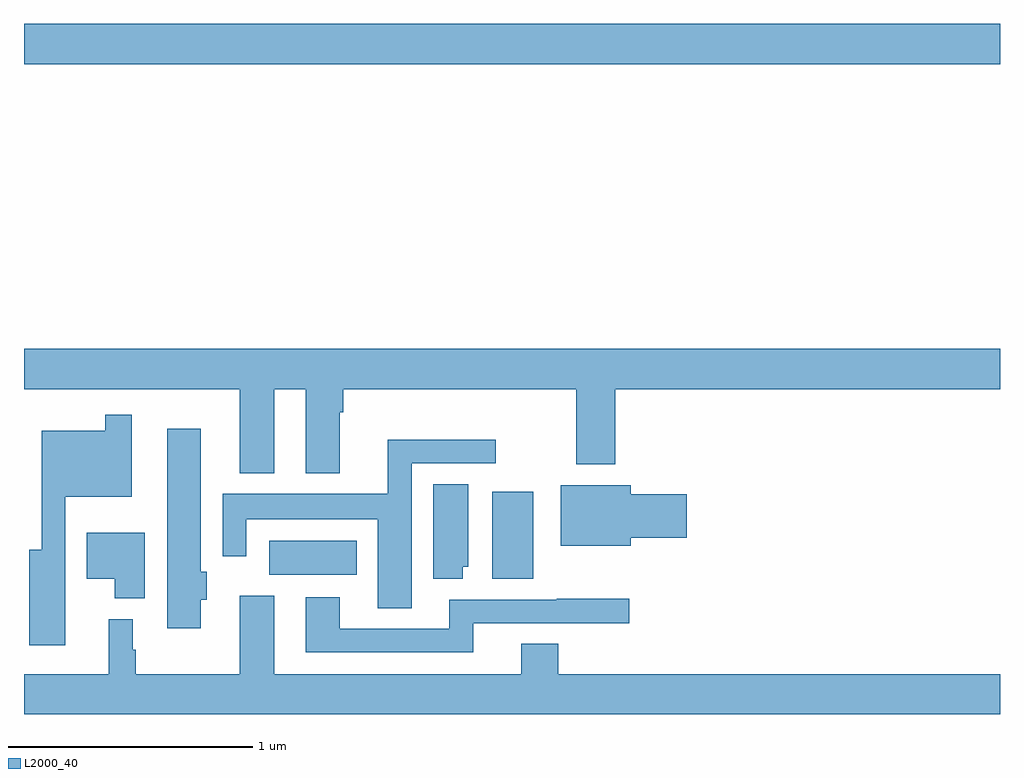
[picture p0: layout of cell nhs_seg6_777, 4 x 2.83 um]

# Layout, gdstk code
import gdstk
lib = gdstk.Library(unit=1e-6, precision=1e-09)
def R(c, l, rs):  # rectangles x0, y0, x1, y1
    for r in rs: c.add(gdstk.rectangle(r[:2], r[2:], *l))
def P(c, l, *ps):  # polygons
    for p in ps: c.add(gdstk.Polygon(p, *l))
L2000_40 = (2000, 40)

nhs_seg6_777 = lib.new_cell('nhs_seg6_777')
R(nhs_seg6_777, L2000_40, [(162.92,926.578,163.087,926.935), (162.006,926.594,162.364,926.734), (161,928.688,165,928.852)])
P(nhs_seg6_777, L2000_40, [(162.025,927.356),(162.155,927.356),(162.155,927.011),(162.295,927.011),(162.295,927.26),(162.308,927.26),(162.308,927.356),(163.264,927.356),(163.264,927.047),(163.424,927.047),(163.424,927.356),(165,927.356),(165,927.52),(161,927.52),(161,927.356),(161.885,927.356),(161.885,927.011),(162.025,927.011)],
  [(161.17,926.915),(161.442,926.915),(161.442,927.25),(161.334,927.25),(161.334,927.184),(161.072,927.184),(161.072,926.698),(161.021,926.698),(161.021,926.306),(161.17,926.306)],
  [(161.725,926.493),(161.749,926.493),(161.749,926.607),(161.725,926.607),(161.725,927.193),(161.588,927.193),(161.588,926.376),(161.725,926.376)],
  [(162.589,927.051),(162.934,927.051),(162.934,927.149),(162.491,927.149),(162.491,926.926),(161.814,926.926),(161.814,926.67),(161.91,926.67),(161.91,926.822),(162.449,926.822),(162.449,926.458),(162.589,926.458)],
  [(162.799,926.628),(162.82,926.628),(162.82,926.966),(162.677,926.966),(162.677,926.578),(162.799,926.578)],
  [(163.486,926.747),(163.717,926.747),(163.717,926.925),(163.486,926.925),(163.486,926.962),(163.199,926.962),(163.199,926.714),(163.486,926.714)],
  [(161.494,926.767),(161.258,926.767),(161.258,926.579),(161.372,926.579),(161.372,926.498),(161.494,926.498)],
  [(165,926.188),(163.19,926.188),(163.19,926.312),(163.037,926.312),(163.037,926.188),(162.025,926.188),(162.025,926.509),(161.885,926.509),(161.885,926.188),(161.458,926.188),(161.458,926.288),(161.446,926.288),(161.446,926.413),(161.348,926.413),(161.348,926.188),(161,926.188),(161,926.024),(165,926.024)],
  [(162.842,926.397),(163.48,926.397),(163.48,926.496),(163.183,926.496),(163.183,926.493),(162.743,926.493),(162.743,926.373),(162.295,926.373),(162.295,926.503),(162.155,926.503),(162.155,926.277),(162.842,926.277)])

lib.write_gds('nhs_seg6_777.gds')
